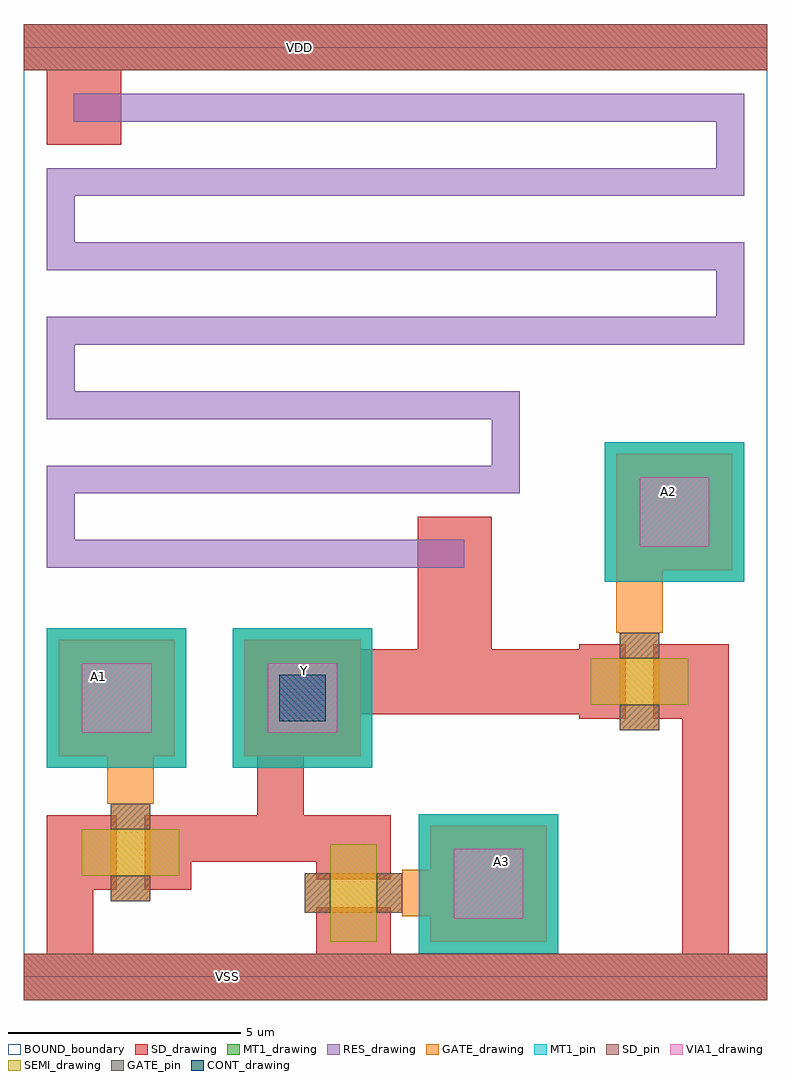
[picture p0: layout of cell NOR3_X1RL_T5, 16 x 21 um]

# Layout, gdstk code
from math import pi, radians
import gdstk
lib = gdstk.Library(unit=1e-6, precision=1e-09)
def R(c, l, rs):  # rectangles x0, y0, x1, y1
    for r in rs: c.add(gdstk.rectangle(r[:2], r[2:], *l))
def P(c, l, *ps):  # polygons
    for p in ps: c.add(gdstk.Polygon(p, *l))
RES_drawing = (1, 0)
SEMI_drawing = (3, 0)
SD_drawing = (10, 0)
SD_pin = (10, 3)
GATE_drawing = (11, 0)
GATE_pin = (11, 3)
MT1_drawing = (20, 0)
MT1_pin = (20, 3)
CONT_drawing = (30, 0)
VIA1_drawing = (41, 0)
BOUND_boundary = (150, 5)

nch_cdns_772545073330 = lib.new_cell('nch_CDNS_772545073330')
R(nch_cdns_772545073330, SEMI_drawing, [(-1.05,-0.5,1.05,0.5)])
R(nch_cdns_772545073330, SD_drawing, [(-1.3,-0.8,-0.3,0.8), (0.3,-0.8,1.3,0.8)])
R(nch_cdns_772545073330, GATE_drawing, [(-0.425,-1.05,0.425,1.05)])
R(nch_cdns_772545073330, GATE_pin, [(-0.425,-1.05,0.425,-0.5), (-0.425,0.5,0.425,1.05)])

gate_mt1_cdns_7725450733 = lib.new_cell('GATE_MT1_CDNS_772545073330')
R(gate_mt1_cdns_7725450733, GATE_drawing, [(-1.25,-1.25,1.25,1.25)])
R(gate_mt1_cdns_7725450733, MT1_drawing, [(-1.25,-1.25,1.25,1.25)])
R(gate_mt1_cdns_7725450733, VIA1_drawing, [(-0.75,-0.75,0.75,0.75)])

sd_gate_cdns_77254507333 = lib.new_cell('SD_GATE_CDNS_772545073331')
R(sd_gate_cdns_77254507333, SD_drawing, [(-1.25,-1.25,1.25,1.25)])
R(sd_gate_cdns_77254507333, GATE_drawing, [(-1.25,-1.25,1.25,1.25)])
R(sd_gate_cdns_77254507333, CONT_drawing, [(-0.5,-0.5,0.5,0.5)])

nor3_x1rl_t5 = lib.new_cell('NOR3_X1RL_T5')
R(nor3_x1rl_t5, SD_drawing, [(0,-0.5,16,0.5), (0.5,0.5,1.5,3.475), (14.175,0.5,15.175,7.15), (3.3,2.475,7.9,3.475), (8.475,8.3,10.075,9.9), (0.5,17.9,2.1,19.5), (0,19.5,16,20.5)])
R(nor3_x1rl_t5, SD_pin, [(0,-0.5,16,0.5), (0,19.5,16,20.5)])
P(nor3_x1rl_t5, GATE_drawing, [(13.75,7.5),(12.75,7.5),(12.75,7.4),(12.875,7.4),(12.875,7.35),(13.625,7.35),(13.625,7.4),(13.75,7.4)],
  [(8.25,1.3),(8.25,2.3),(8.15,2.3),(8.15,2.175),(8.1,2.175),(8.1,1.425),(8.15,1.425),(8.15,1.3)],
  [(2.8,3.825),(1.8,3.825),(1.8,3.725),(1.925,3.725),(1.925,3.675),(2.675,3.675),(2.675,3.725),(2.8,3.725)])
R(nor3_x1rl_t5, MT1_drawing, [(8.5,0.5,11.5,3.5), (0.5,4.5,3.5,7.5), (4.5,4.5,7.5,7.5), (12.5,8.5,15.5,11.5)])
R(nor3_x1rl_t5, MT1_pin, [(8.5,0.5,11.5,3.5), (0.5,4.5,3.5,7.5), (4.5,4.5,7.5,7.5), (12.5,8.5,15.5,11.5)])
R(nor3_x1rl_t5, BOUND_boundary, [(0,0,16,20)])
nor3_x1rl_t5.add(gdstk.FlexPath([(2.3,3.725),(2.3,4.75)], 1, ends="flush", simple_path=True, layer=11, datatype=0))  # GATE_drawing
nor3_x1rl_t5.add(gdstk.FlexPath([(8.925,1.8),(8.15,1.8)], 1, ends="flush", simple_path=True, layer=11, datatype=0))  # GATE_drawing
nor3_x1rl_t5.add(gdstk.FlexPath([(13.25,7.4),(13.25,8.825)], 1, ends="flush", simple_path=True, layer=11, datatype=0))  # GATE_drawing
nor3_x1rl_t5.add(gdstk.FlexPath([(11.95,6.35),(7.25,6.35)], 1.4, ends="flush", simple_path=True, layer=10, datatype=0))  # SD_drawing
nor3_x1rl_t5.add(gdstk.FlexPath([(9.275,8.3),(9.275,7.05)], 1.6, ends="flush", simple_path=True, layer=10, datatype=0))  # SD_drawing
nor3_x1rl_t5.add(gdstk.FlexPath([(5.525,2.975),(5.525,4.75)], 1, ends=(0.5, 0), simple_path=True, layer=10, datatype=0))  # SD_drawing
nor3_x1rl_t5.add(gdstk.FlexPath([(2.075,18.7),(15.2,18.7),(15.2,17.1),(0.8,17.1),(0.8,15.5),(15.2,15.5),(15.2,13.9),(0.8,13.9),(0.8,12.3),(10.375,12.3),(10.375,10.7),(0.8,10.7),(0.8,9.1),(8.475,9.1)], 0.6, ends=(1, 1), simple_path=True, layer=1, datatype=0))  # RES_drawing
nor3_x1rl_t5.add(gdstk.Reference(nch_cdns_772545073330, (7.1,1.8), rotation=3*pi/2))
nor3_x1rl_t5.add(gdstk.Reference(nch_cdns_772545073330, (2.3,2.675)))
nor3_x1rl_t5.add(gdstk.Reference(nch_cdns_772545073330, (13.25,6.35), rotation=pi))
nor3_x1rl_t5.add(gdstk.Reference(gate_mt1_cdns_7725450733, (14,10)))
nor3_x1rl_t5.add(gdstk.Reference(gate_mt1_cdns_7725450733, (10,2)))
nor3_x1rl_t5.add(gdstk.Reference(gate_mt1_cdns_7725450733, (6,6)))
nor3_x1rl_t5.add(gdstk.Reference(gate_mt1_cdns_7725450733, (2,6)))
nor3_x1rl_t5.add(gdstk.Reference(sd_gate_cdns_77254507333, (6,6)))
nor3_x1rl_t5.add(gdstk.Label('A3', (10.275,2.475), layer=20, texttype=3))
nor3_x1rl_t5.add(gdstk.Label('Y', (6.05,6.6), layer=20, texttype=3))
nor3_x1rl_t5.add(gdstk.Label('A2', (13.875,10.45), layer=20, texttype=3))
nor3_x1rl_t5.add(gdstk.Label('A1', (1.6,6.45), layer=20, texttype=3))
nor3_x1rl_t5.add(gdstk.Label('VSS', (4.375,0), layer=10, texttype=3))
nor3_x1rl_t5.add(gdstk.Label('VDD', (5.925,20), layer=10, texttype=3))

lib.write_gds('NOR3_X1RL_T5.gds')
